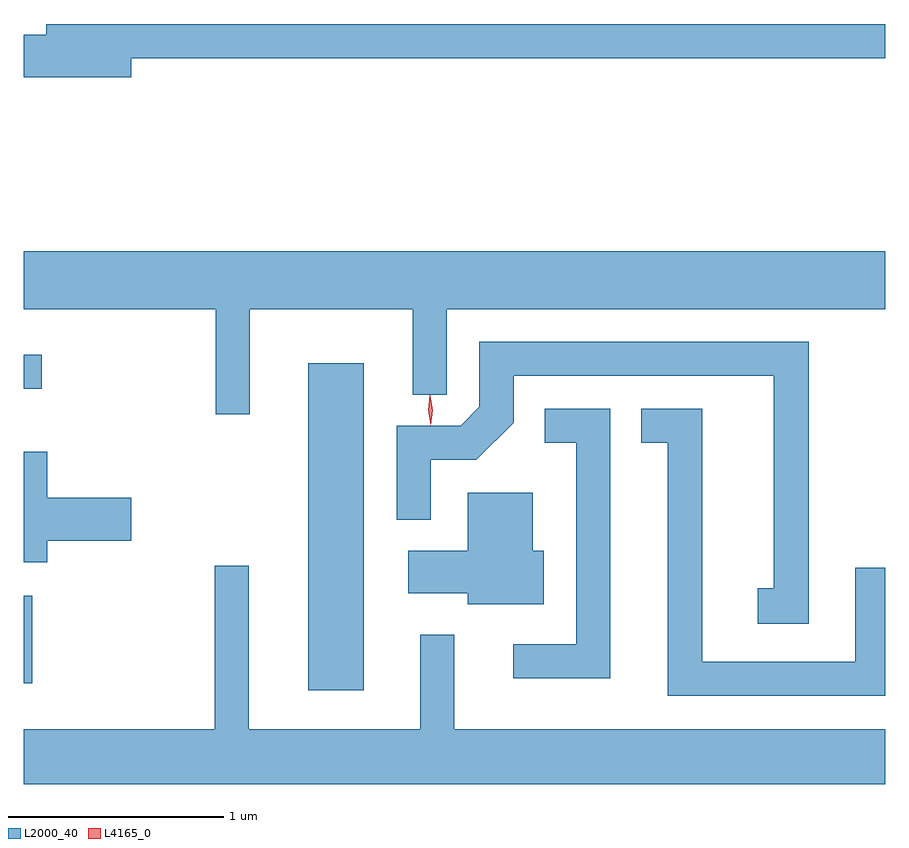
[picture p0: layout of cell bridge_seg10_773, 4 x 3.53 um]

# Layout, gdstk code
import gdstk
lib = gdstk.Library(unit=1e-6, precision=1e-09)
def R(c, l, rs):  # rectangles x0, y0, x1, y1
    for r in rs: c.add(gdstk.rectangle(r[:2], r[2:], *l))
def P(c, l, *ps):  # polygons
    for p in ps: c.add(gdstk.Polygon(p, *l))
L2000_40 = (2000, 40)
L4165_0 = (4165, 0)

bridge_seg10_773 = lib.new_cell('bridge_seg10_773')
R(bridge_seg10_773, L2000_40, [(440.936,2132.126,441.194,2133.644), (439.615,2132.158,439.654,2132.564), (439.615,2133.526,439.698,2133.684)])
P(bridge_seg10_773, L2000_40, [(440.114,2135.061),(443.615,2135.061),(443.615,2135.219),(439.721,2135.219),(439.721,2135.169),(439.615,2135.169),(439.615,2134.971),(440.114,2134.971)],
  [(440.664,2133.896),(441.421,2133.896),(441.421,2133.498),(441.579,2133.498),(441.579,2133.896),(443.615,2133.896),(443.615,2134.164),(439.615,2134.164),(439.615,2133.896),(440.506,2133.896),(440.506,2133.408),(440.664,2133.408)],
  [(443.259,2133.744),(441.731,2133.744),(441.731,2133.442),(441.644,2133.354),(441.346,2133.354),(441.346,2132.918),(441.504,2132.918),(441.504,2133.196),(441.717,2133.196),(441.889,2133.369),(441.889,2133.586),(443.096,2133.586),(443.096,2132.599),(443.023,2132.599),(443.023,2132.436),(443.259,2132.436)],
  [(443.615,2132.694),(443.476,2132.694),(443.476,2132.259),(442.764,2132.259),(442.764,2133.434),(442.483,2133.434),(442.483,2133.276),(442.606,2133.276),(442.606,2132.101),(443.615,2132.101)],
  [(442.339,2133.434),(442.033,2133.434),(442.033,2133.276),(442.181,2133.276),(442.181,2132.339),(441.888,2132.339),(441.888,2132.181),(442.339,2132.181)],
  [(439.724,2132.821),(440.114,2132.821),(440.114,2133.019),(439.724,2133.019),(439.724,2133.234),(439.615,2133.234),(439.615,2132.721),(439.724,2132.721)],
  [(442.029,2132.774),(441.979,2132.774),(441.979,2133.044),(441.676,2133.044),(441.676,2132.774),(441.401,2132.774),(441.401,2132.576),(441.676,2132.576),(441.676,2132.526),(442.029,2132.526)],
  [(443.615,2131.944),(441.614,2131.944),(441.614,2132.383),(441.456,2132.383),(441.456,2131.944),(440.659,2131.944),(440.659,2132.703),(440.501,2132.703),(440.501,2131.944),(439.615,2131.944),(439.615,2131.691),(443.615,2131.691)])
P(bridge_seg10_773, L4165_0, [(441.504,2133.357),(441.504,2133.357),(441.493,2133.426),(441.501,2133.495),(441.502,2133.496),(441.502,2133.495),(441.513,2133.426),(441.504,2133.357)],
  [(441.504,2133.359),(441.504,2133.36),(441.493,2133.426),(441.501,2133.492),(441.502,2133.492),(441.502,2133.492),(441.513,2133.426),(441.504,2133.36)])

lib.write_gds('bridge_seg10_773.gds')
